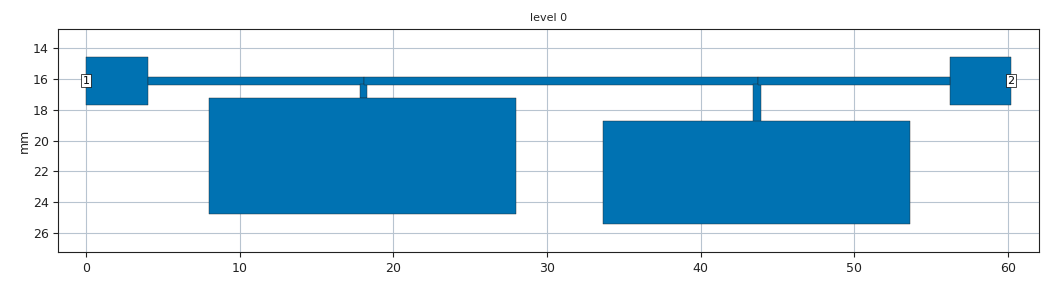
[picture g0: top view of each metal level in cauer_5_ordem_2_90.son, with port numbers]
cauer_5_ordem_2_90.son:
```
FTYP SONPROJ 13 ! Sonnet Project File
VER 15.53.lite
HEADER
LIC SL290709.106431 847bebfebdba DESKTOP-1CMJ3DP Arihe
DAT 05/14/2019 02:17:49
BUILT_BY_CREATED xgeom 15.53-Lite 04/13/2019 20:59:13
BUILT_BY_SAVED xgeom 15.53-Lite
MDATE 05/14/2019 02:17:49
HDATE 05/14/2019 02:17:49
END HEADER
DIM
FREQ GHZ
RSVY OHMM
IND NH
LNG MM
ANG DEG
CON /OH
CAP PF
RES OH
END DIM
FREQ
ABS 1.0e-9 3.0 
END FREQ
CONTROL
ABS
OPTIONS  -dj 
SPEED 0
CACHE_ABS 1
TARG_ABS 300
Q_ACC N
END CONTROL
GEO
DRP1 LEFT LINK
POLY 12 1
1
DRP1 RIGHT LINK
POLY 14 1
0
TMET "Lossless" 0 SUP 0 0 0 0
BMET "Lossless" 0 SUP 0 0 0 0
MET "Copper" 1 NOR 58000000 0 0.0347 
BOX 1 60.2 40 1204 800 20 0
      20 1 1 0 0 0 0 "Air"
      1.5306 4.1 1 0.02 0 0 0 "FR-4"
LORGN 0 40 U 
POR1 STD
POLY 12 1
3
1 50 0 0 0 3.125002479e-010 16.1 
POR1 STD
POLY 14 1
1
2 50 0 0 0 60.2 16.1 
NUM 9
0 5 0 N 12 1 1 100 100 0 0 0 Y
3.125002479e-010 14.55
4.000000001 14.55
4.000000001 17.65
3.125002479e-010 17.65
3.125002479e-010 14.55
END
0 5 0 N 14 1 1 100 100 0 0 0 Y
56.2 14.55
60.2 14.55
60.2 17.65
56.2 17.65
56.2 14.55
END
0 5 0 N 16 1 1 100 100 0 0 0 Y
3.999999998 15.85
18.1 15.85
18.1 16.35
3.999999998 16.35
3.999999998 15.85
END
0 5 0 N 17 1 1 100 100 0 0 0 Y
17.8 16.3
18.3 16.3
18.3 17.2
17.8 17.2
17.8 16.3
END
0 5 0 N 18 1 1 100 100 0 0 0 Y
18.1 15.85
43.7 15.85
43.7 16.35
18.1 16.35
18.1 15.85
END
0 5 0 N 19 1 1 100 100 0 0 0 Y
43.4 16.3
43.9 16.3
43.9 18.8
43.4 18.8
43.4 16.3
END
0 5 0 N 20 1 1 100 100 0 0 0 Y
28 17.2
28 24.8
8 24.8
8 17.2
28 17.2
END
0 5 0 N 21 1 1 100 100 0 0 0 Y
53.65 18.75
53.65 25.45
33.65 25.45
33.65 18.75
53.65 18.75
END
0 5 0 N 22 1 1 100 100 0 0 0 Y
43.7 15.875
56.2 15.875
56.2 16.375
43.7 16.375
43.7 15.875
END
END GEO
OPT
MAX 100
VARS
END
END OPT
VARSWP
END VARSWP
QSG
IMPORT NO
EXTRA_METAL NO
UNITS YES
ALIGN NO
REF NO
VIEW_RES NO
METALS YES
USED NO
END QSG
```
